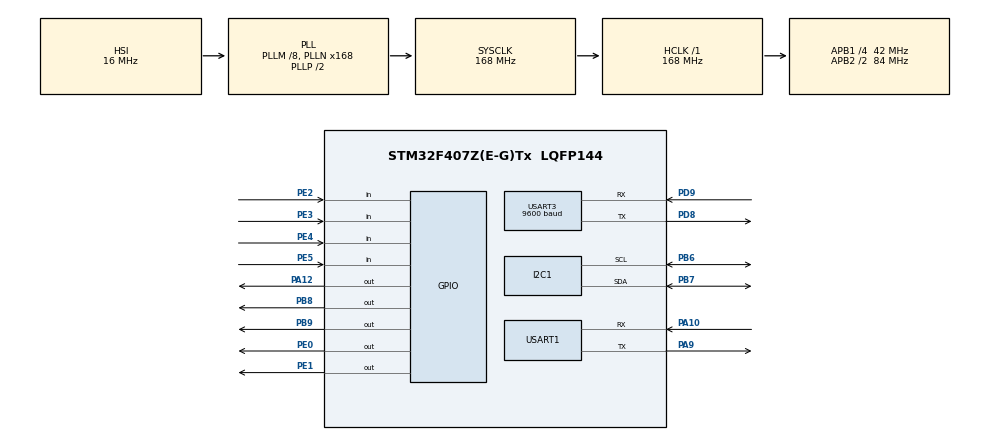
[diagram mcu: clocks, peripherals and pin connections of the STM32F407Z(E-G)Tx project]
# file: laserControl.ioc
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Mcu.Family=STM32F4
PH0-OSC_IN.Signal=RCC_OSC_IN
RCC.CortexFreq_Value=168000000
Dma.USART1_TX.1.MemInc=DMA_MINC_ENABLE
NVIC.TIM6_DAC_IRQn=true\:2\:0\:true\:false\:true\:true\:true
PD9.Mode=Asynchronous
RCC.SYSCLKSource=RCC_SYSCLKSOURCE_PLLCLK
ProjectManager.StackSize=0x400
PA12.Signal=GPIO_Output
USART3.BaudRate=9600
PE5.GPIO_PuPd=GPIO_PULLDOWN
RCC.HCLKFreq_Value=168000000
RCC.APB2TimFreq_Value=168000000
PB6.Signal=I2C1_SCL
PB6.Mode=I2C
PD8.Signal=USART3_TX
PE5.Signal=GPIO_Input
PE1.Signal=GPIO_Output
RCC.AHBFreq_Value=168000000
PH0-OSC_IN.Mode=HSE-External-Oscillator
Dma.USART1_RX.0.Priority=DMA_PRIORITY_LOW
RCC.HSE_VALUE=25000000
PC14-OSC32_IN.Mode=LSE-External-Oscillator
PE2.Signal=GPIO_Input
PB7.Signal=I2C1_SDA
TIM6.Period=5000
Dma.USART1_RX.0.MemInc=DMA_MINC_ENABLE
PE4.Signal=GPIO_Input
Dma.USART1_TX.1.PeriphDataAlignment=DMA_PDATAALIGN_BYTE
PH1-OSC_OUT.Mode=HSE-External-Oscillator
Mcu.Package=LQFP144
PB9.Signal=GPIO_Output
NVIC.DMA2_Stream7_IRQn=true\:0\:0\:false\:false\:true\:false\:true
PA10.Signal=USART1_RX
Dma.USART1_RX.0.FIFOMode=DMA_FIFOMODE_DISABLE
RCC.APB2CLKDivider=RCC_HCLK_DIV2
NVIC.DMA2_Stream2_IRQn=true\:0\:0\:false\:false\:true\:false\:true
Dma.Request1=USART1_TX
RCC.APB1TimFreq_Value=84000000
Dma.USART1_RX.0.Mode=DMA_CIRCULAR
Dma.USART1_TX.1.Priority=DMA_PRIORITY_LOW
NVIC.USART1_IRQn=true\:0\:0\:true\:false\:true\:true\:true
Dma.Request0=USART1_RX
Dma.USART1_RX.0.Instance=DMA2_Stream2
Dma.USART1_TX.1.Direction=DMA_MEMORY_TO_PERIPH
PC15-OSC32_OUT.Mode=LSE-External-Oscillator
Dma.USART1_TX.1.Instance=DMA2_Stream7
Dma.USART1_RX.0.PeriphDataAlignment=DMA_PDATAALIGN_BYTE
PA10.Mode=Asynchronous
TIM6.Prescaler=8400-1
VP_TIM6_VS_ClockSourceINT.Mode=Enable_Timer
PD9.Signal=USART3_RX
RCC.APB1CLKDivider=RCC_HCLK_DIV4
PC14-OSC32_IN.Signal=RCC_OSC32_IN
PA9.Mode=Asynchronous
ProjectManager.TargetToolchain=STM32CubeIDE
Dma.USART1_RX.0.Direction=DMA_PERIPH_TO_MEMORY
PA9.Signal=USART1_TX
Dma.USART1_TX.1.FIFOMode=DMA_FIFOMODE_DISABLE
PC15-OSC32_OUT.Signal=RCC_OSC32_OUT
PD8.Mode=Asynchronous
Dma.USART1_RX.0.PeriphInc=DMA_PINC_DISABLE
PE2.GPIO_PuPd=GPIO_PULLDOWN
Dma.USART1_TX.1.MemDataAlignment=DMA_MDATAALIGN_BYTE
board=custom
RCC.VCOOutputFreq_Value=336000000
RCC.APB2Freq_Value=84000000
PE3.GPIO_PuPd=GPIO_PULLDOWN
PH1-OSC_OUT.Signal=RCC_OSC_OUT
Dma.USART1_RX.0.MemDataAlignment=DMA_MDATAALIGN_BYTE
PE0.Signal=GPIO_Output
Mcu.Name=STM32F407Z(E-G)Tx
PE4.GPIO_PuPd=GPIO_PULLDOWN
RCC.48MHZClocksFreq_Value=84000000
RCC.SYSCLKFreq_VALUE=168000000
USART3.VirtualMode=VM_ASYNC
Dma.USART1_TX.1.Mode=DMA_NORMAL
USART1.VirtualMode=VM_ASYNC
PB7.Mode=I2C
ProjectManager.HeapSize=0x200
Dma.USART1_TX.1.PeriphInc=DMA_PINC_DISABLE
RCC.HSI_VALUE=16000000
NVIC.PriorityGroup=NVIC_PRIORITYGROUP_4
RCC.PLLM=8
RCC.PLLN=168
PE3.Signal=GPIO_Input
PB8.Signal=GPIO_Output
RCC.APB1Freq_Value=42000000

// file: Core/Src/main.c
/* USER CODE BEGIN Header */
/**
  ******************************************************************************
  * @file           : main.c
  * @brief          : Main program body
  ******************************************************************************
  * @attention
  *
  * <h2><center>&copy; Copyright (c) 2021 STMicroelectronics.
  * All rights reserved.</center></h2>
  *
  * This software component is licensed by ST under BSD 3-Clause license,
  * the "License"; You may not use this file except in compliance with the
  * License. You may obtain a copy of the License at:
  *                        opensource.org/licenses/BSD-3-Clause
  *
  ******************************************************************************
  */
/* USER CODE END Header */
#include "main.h"
#include "dma.h"
#include "i2c.h"
#include "tim.h"
#include "usart.h"
#include "gpio.h"

/* USER CODE BEGIN Includes */
#include "oled.h"
#include "stdio.h"
#include "string.h"
#include "key.h"
#include "control.h"
#include "motor.h"
/* USER CODE END Includes */

/* USER CODE BEGIN PV */
uint8_t strBuffer[100];
uint8_t keyValue;
uint16_t countX=1000;
uint16_t countY=100;
uint8_t UART1_Rx_Buf[100] = {0};

uint8_t ringCount;
uint8_t ringDerection;
uint16_t pointX=0;
uint16_t pointY=0;

uint16_t TargetPointX = 250;		//球的目标位置
uint16_t TargetPointY = 250;

float DistanceX_Kp = 0.05, DistanceX_Ki = 0.05, DistanceX_Kd = 0.08;		//距离环控制函�??????(0.1 0.05 0.1)
float DistanceY_Kp = 0.05, DistanceY_Ki = 0.04, DistanceY_Kd = 0.08;		//距离环控制函�??????(0.1 0.04 0.1)

uint16_t AngleX;
uint16_t AngleY;

uint16_t AngleXopen = 1000;
uint16_t AngleYopen = 118;

uint8_t motorRun;

/* USER CODE END PV */

void SystemClock_Config(void);

int main(void)
{

  /* MCU Configuration--------------------------------------------------------*/

  /* Reset of all peripherals, Initializes the Flash interface and the Systick. */
  HAL_Init();

  /* Configure the system clock */
  SystemClock_Config();

  /* Initialize all configured peripherals */
  MX_GPIO_Init();
  MX_DMA_Init();
  MX_I2C1_Init();
  MX_USART1_UART_Init();
  MX_TIM6_Init();
  MX_USART3_UART_Init();
  /* USER CODE BEGIN 2 */
  OLED_Init();
  OLED_Clear();
//  HAL_UART_Receive_IT(&huart3,(uint8_t *)UART3_Rx_Buf,4);
  HAL_UART_Receive_DMA(&huart1,(uint8_t *)UART1_Rx_Buf,100);
  servoRotate(1000, 118);
  /* USER CODE END 2 */

  /* Infinite loop */
  while (1)
  {

    /* USER CODE BEGIN 3 */
	keyValue = KEY_Scan();
	if(keyValue == 1){
		AngleXopen = 1000;
	}
	else if(keyValue == 2){
		if(AngleXopen < 2000)
			AngleXopen = AngleXopen + 3;
		else AngleXopen = 2000;
	}
	else if(keyValue == 3){
		if(AngleXopen >0 )
			AngleXopen = AngleXopen - 3;
		else AngleXopen = 0;
	}
	else if(keyValue == 4){
		AngleXopen = 1000;
	}

	if(keyValue == 5){
		AngleYopen = 118;
	}
	else if(keyValue == 6){
		if(AngleYopen < 214)
			AngleYopen = AngleYopen + 3;
		else AngleYopen = 214;
	}
	else if(keyValue == 7){
		if(AngleYopen > 100)
			AngleYopen = AngleYopen - 3;
		else AngleYopen = 100;
	}
	else if(keyValue == 8){
		AngleYopen = 118;
	}
//	else if(keyValue == 9){
//		HAL_GPIO_TogglePin(GPIOA, GPIO_PIN_12);
//	}
	else if(keyValue == 10){
		motorRun = !motorRun;
	}
	else if(keyValue == 11){
		if(TargetPointX < 500){
			TargetPointX = TargetPointX + 25;
		}
		else{
			TargetPointX = 0;

		}

	}
	else if(keyValue == 12){
//		HAL_TIM_Base_Start_IT(&htim6);
		if(TargetPointY < 500){
			TargetPointY = TargetPointY + 25;
		}
		else{
			TargetPointY = 0;

		}
	}
	else if(keyValue == 14){
		HAL_TIM_Base_Stop_IT(&htim6);
		TargetPointX = 250;
		TargetPointY = 250;
		DistanceX_Kp = 0.05;
		DistanceX_Ki = 0.05;
		DistanceX_Kd = 0.01;		//距离环控制函�??????(0.1 0.05 0)
		DistanceY_Kp = 0.05;
		DistanceY_Ki = 0.04;
		DistanceY_Kd = 0.01;
	}
	else if(keyValue == 13){
		HAL_TIM_Base_Start_IT(&htim6);
		DistanceX_Kp = 0.03;
		DistanceX_Ki = 0.05;
		DistanceX_Kd = 0.01;		//距离环控制函�??????(0.1 0.05 0)
		DistanceY_Kp = 0.03;
		DistanceY_Ki = 0.04;
		DistanceY_Kd = 0.01
				;		//距离环控制函�??????(0.06 0.04 0)
	}

	if(motorRun == 0){
		servoRotate(AngleXopen, AngleYopen);
	}

	HAL_GPIO_WritePin(GPIOA, GPIO_PIN_12, GPIO_PIN_SET);

//	sprintf((char*)strBuffer,"hello world");
//	OLED_ShowString(0, 0, strBuffer, sizeof(strBuffer));
//	sprintf((char*)strBuffer,"CountX = %4d",AngleXopen);
//	OLED_ShowString(0, 1, strBuffer, sizeof(strBuffer));
//	sprintf((char*)strBuffer,"CountY = %4d",AngleYopen);
//	OLED_ShowString(0, 2, strBuffer, sizeof(strBuffer));
//	sprintf((char*)strBuffer,"pointX = %4d",pointX);
//	OLED_ShowString(0, 3, strBuffer, sizeof(strBuffer));
//	sprintf((char*)strBuffer,"pointY = %4d",pointY);
//	OLED_ShowString(0, 4, strBuffer, sizeof(strBuffer));
//	sprintf((char*)strBuffer,"TargetX = %4d",TargetPointX);
//	OLED_ShowString(0, 5, strBuffer, sizeof(strBuffer));
//	sprintf((char*)strBuffer,"TargetY = %4d",TargetPointY);
//	OLED_ShowString(0, 6, strBuffer, sizeof(strBuffer));

  }
  /* USER CODE END 3 */
}

void SystemClock_Config(void)
{
  RCC_OscInitTypeDef RCC_OscInitStruct = {0};
  RCC_ClkInitTypeDef RCC_ClkInitStruct = {0};

  /** Configure the main internal regulator output voltage
  */
  __HAL_RCC_PWR_CLK_ENABLE();
  __HAL_PWR_VOLTAGESCALING_CONFIG(PWR_REGULATOR_VOLTAGE_SCALE1);
  /** Initializes the RCC Oscillators according to the specified parameters
  * in the RCC_OscInitTypeDef structure.
  */
  RCC_OscInitStruct.OscillatorType = RCC_OSCILLATORTYPE_HSI;
  RCC_OscInitStruct.HSIState = RCC_HSI_ON;
  RCC_OscInitStruct.HSICalibrationValue = RCC_HSICALIBRATION_DEFAULT;
  RCC_OscInitStruct.PLL.PLLState = RCC_PLL_ON;
  RCC_OscInitStruct.PLL.PLLSource = RCC_PLLSOURCE_HSI;
  RCC_OscInitStruct.PLL.PLLM = 8;
  RCC_OscInitStruct.PLL.PLLN = 168;
  RCC_OscInitStruct.PLL.PLLP = RCC_PLLP_DIV2;
  RCC_OscInitStruct.PLL.PLLQ = 4;
  if (HAL_RCC_OscConfig(&RCC_OscInitStruct) != HAL_OK)
  {
    Error_Handler();
  }
  /** Initializes the CPU, AHB and APB buses clocks
  */
  RCC_ClkInitStruct.ClockType = RCC_CLOCKTYPE_HCLK|RCC_CLOCKTYPE_SYSCLK
                              |RCC_CLOCKTYPE_PCLK1|RCC_CLOCKTYPE_PCLK2;
  RCC_ClkInitStruct.SYSCLKSource = RCC_SYSCLKSOURCE_PLLCLK;
  RCC_ClkInitStruct.AHBCLKDivider = RCC_SYSCLK_DIV1;
  RCC_ClkInitStruct.APB1CLKDivider = RCC_HCLK_DIV4;
  RCC_ClkInitStruct.APB2CLKDivider = RCC_HCLK_DIV2;

  if (HAL_RCC_ClockConfig(&RCC_ClkInitStruct, FLASH_LATENCY_5) != HAL_OK)
  {
    Error_Handler();
  }
}

void Error_Handler(void)
{
  __disable_irq();
  while (1)
  {
  }
}

/************************ (C) COPYRIGHT STMicroelectronics *****END OF FILE****/
